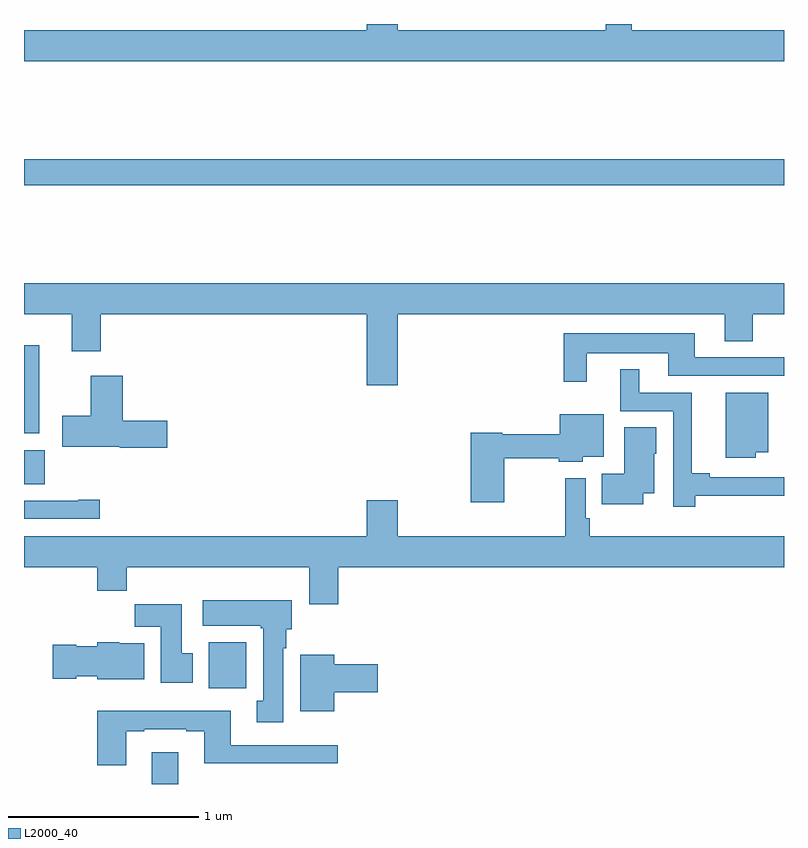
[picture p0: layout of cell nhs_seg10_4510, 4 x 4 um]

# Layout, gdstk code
import gdstk
lib = gdstk.Library(unit=1e-6, precision=1e-09)
def R(c, l, rs):  # rectangles x0, y0, x1, y1
    for r in rs: c.add(gdstk.rectangle(r[:2], r[2:], *l))
def P(c, l, *ps):  # polygons
    for p in ps: c.add(gdstk.Polygon(p, *l))
L2000_40 = (2000, 40)

nhs_seg10_4510 = lib.new_cell('nhs_seg10_4510')
R(nhs_seg10_4510, L2000_40, [(367.673,1308.5,367.813,1308.667), (367.973,1309.004,368.17,1309.246), (367,1310.077,367.109,1310.256), (367,1310.345,367.081,1310.809), (367,1311.652,371,1311.788)])
P(nhs_seg10_4510, L2000_40, [(371,1312.468),(370.199,1312.468),(370.199,1312.5),(370.063,1312.5),(370.063,1312.468),(368.968,1312.468),(368.968,1312.5),(368.804,1312.5),(368.804,1312.468),(367,1312.468),(367,1312.304),(371,1312.304)],
  [(368.968,1310.972),(370.688,1310.972),(370.688,1310.83),(370.836,1310.83),(370.836,1310.972),(371,1310.972),(371,1311.136),(367,1311.136),(367,1310.972),(367.25,1310.972),(367.25,1310.778),(367.403,1310.778),(367.403,1310.972),(368.804,1310.972),(368.804,1310.598),(368.968,1310.598)],
  [(369.961,1310.768),(370.391,1310.768),(370.391,1310.649),(371,1310.649),(371,1310.745),(370.531,1310.745),(370.531,1310.872),(369.84,1310.872),(369.84,1310.616),(369.961,1310.616)],
  [(370.532,1310.018),(371,1310.018),(371,1310.115),(370.609,1310.115),(370.609,1310.135),(370.514,1310.135),(370.514,1310.559),(370.237,1310.559),(370.237,1310.683),(370.139,1310.683),(370.139,1310.463),(370.416,1310.463),(370.416,1309.959),(370.532,1309.959)],
  [(367.753,1310.411),(367.52,1310.411),(367.52,1310.65),(367.352,1310.65),(367.352,1310.439),(367.2,1310.439),(367.2,1310.276),(367.503,1310.276),(367.503,1310.269),(367.753,1310.269)],
  [(370.852,1310.246),(370.918,1310.246),(370.918,1310.56),(370.694,1310.56),(370.694,1310.216),(370.852,1310.216)],
  [(369.528,1310.214),(369.814,1310.214),(369.814,1310.195),(369.942,1310.195),(369.942,1310.222),(370.051,1310.222),(370.051,1310.446),(369.821,1310.446),(369.821,1310.342),(369.516,1310.342),(369.516,1310.35),(369.35,1310.35),(369.35,1309.983),(369.528,1309.983)],
  [(370.258,1310.03),(370.318,1310.03),(370.318,1310.238),(370.327,1310.238),(370.327,1310.378),(370.16,1310.378),(370.16,1310.134),(370.042,1310.134),(370.042,1309.973),(370.258,1309.973)],
  [(368.654,1309.64),(371,1309.64),(371,1309.804),(369.977,1309.804),(369.977,1309.9),(369.957,1309.9),(369.957,1310.11),(369.849,1310.11),(369.849,1309.804),(368.968,1309.804),(368.968,1309.993),(368.804,1309.993),(368.804,1309.804),(367,1309.804),(367,1309.64),(367.385,1309.64),(367.385,1309.516),(367.541,1309.516),(367.541,1309.64),(368.501,1309.64),(368.501,1309.446),(368.654,1309.446)],
  [(367.399,1309.997),(367.286,1309.997),(367.286,1309.992),(367,1309.992),(367,1309.896),(367.399,1309.896)],
  [(368.365,1309.214),(368.38,1309.214),(368.38,1309.314),(368.41,1309.314),(368.41,1309.468),(367.941,1309.468),(367.941,1309.334),(368.245,1309.334),(368.245,1309.321),(368.258,1309.321),(368.258,1308.938),(368.225,1308.938),(368.225,1308.825),(368.365,1308.825)],
  [(367.888,1309.188),(367.831,1309.188),(367.831,1309.447),(367.582,1309.447),(367.582,1309.328),(367.721,1309.328),(367.721,1309.032),(367.888,1309.032)],
  [(367.633,1309.24),(367.5,1309.24),(367.5,1309.246),(367.386,1309.246),(367.386,1309.225),(367.275,1309.225),(367.275,1309.233),(367.152,1309.233),(367.152,1309.055),(367.275,1309.055),(367.275,1309.067),(367.386,1309.067),(367.386,1309.052),(367.633,1309.052)],
  [(368.632,1308.983),(368.863,1308.983),(368.863,1309.13),(368.632,1309.13),(368.632,1309.18),(368.453,1309.18),(368.453,1308.884),(368.632,1308.884)],
  [(367.537,1308.777),(367.633,1308.777),(367.633,1308.789),(367.853,1308.789),(367.853,1308.777),(367.949,1308.777),(367.949,1308.608),(368.65,1308.608),(368.65,1308.705),(368.089,1308.705),(368.089,1308.886),(367.385,1308.886),(367.385,1308.6),(367.537,1308.6)])

lib.write_gds('nhs_seg10_4510.gds')
